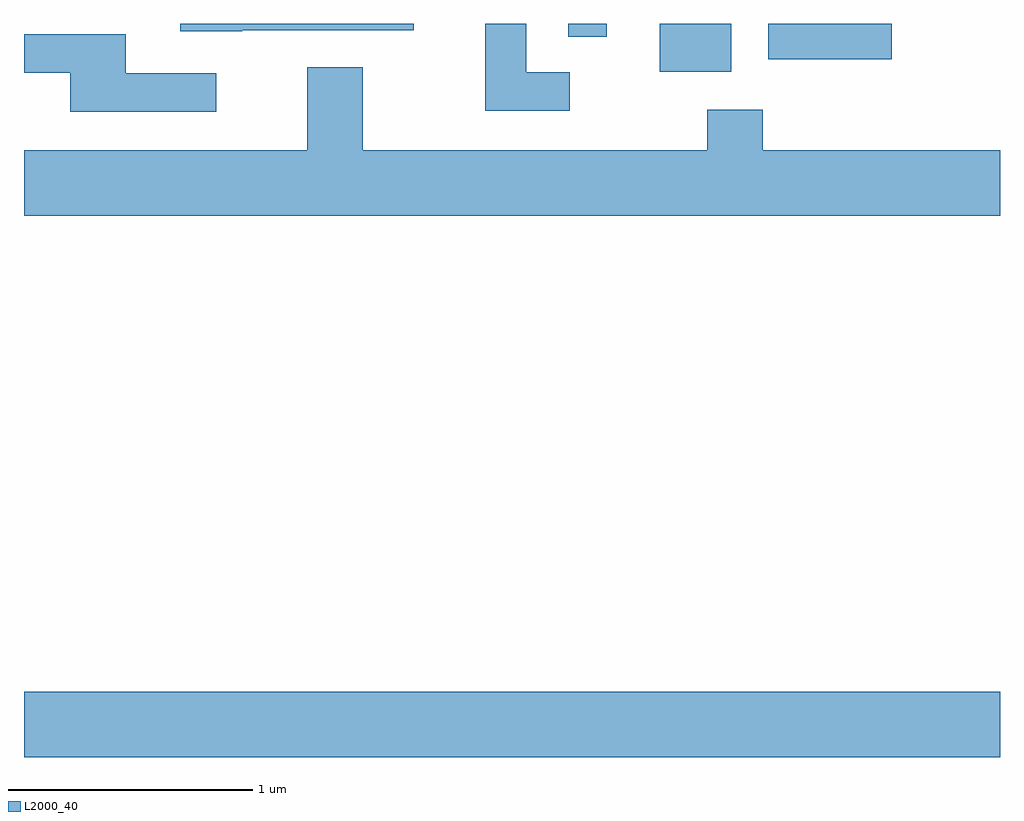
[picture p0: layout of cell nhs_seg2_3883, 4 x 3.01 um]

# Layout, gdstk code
import gdstk
lib = gdstk.Library(unit=1e-6, precision=1e-09)
def R(c, l, rs):  # rectangles x0, y0, x1, y1
    for r in rs: c.add(gdstk.rectangle(r[:2], r[2:], *l))
def P(c, l, *ps):  # polygons
    for p in ps: c.add(gdstk.Polygon(p, *l))
L2000_40 = (2000, 40)

nhs_seg2_3883 = lib.new_cell('nhs_seg2_3883')
R(nhs_seg2_3883, L2000_40, [(299.611,1012.796,303.611,1013.064), (302.216,1015.606,302.509,1015.802), (302.661,1015.656,303.168,1015.802), (301.841,1015.748,301.999,1015.802)])
P(nhs_seg2_3883, L2000_40, [(300.505,1015.776),(301.209,1015.776),(301.209,1015.802),(300.251,1015.802),(300.251,1015.771),(300.505,1015.771)],
  [(301.848,1015.604),(301.669,1015.604),(301.669,1015.802),(301.501,1015.802),(301.501,1015.446),(301.848,1015.446)],
  [(300.398,1015.599),(300.029,1015.599),(300.029,1015.759),(299.611,1015.759),(299.611,1015.601),(299.801,1015.601),(299.801,1015.441),(300.398,1015.441)],
  [(303.611,1015.284),(302.639,1015.284),(302.639,1015.449),(302.411,1015.449),(302.411,1015.284),(300.999,1015.284),(300.999,1015.624),(300.771,1015.624),(300.771,1015.284),(299.611,1015.284),(299.611,1015.016),(303.611,1015.016)])

lib.write_gds('nhs_seg2_3883.gds')
